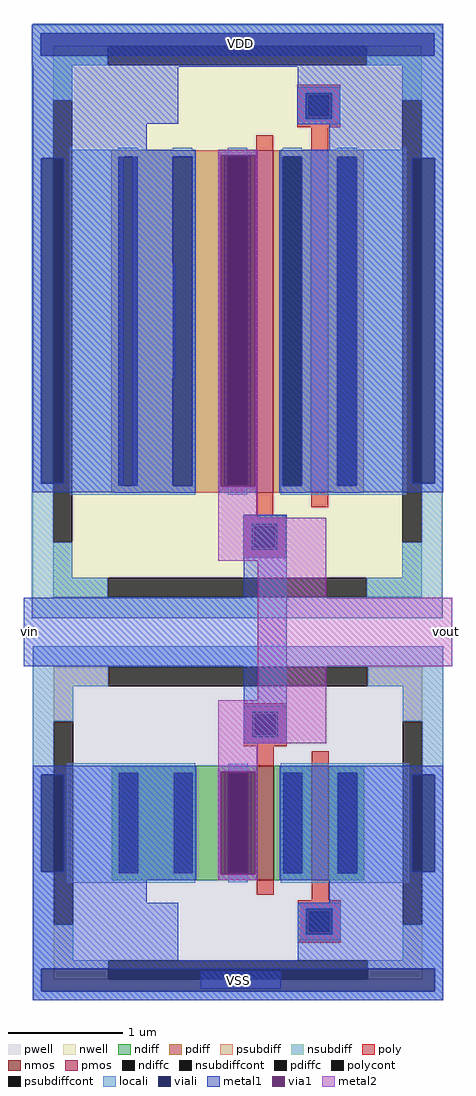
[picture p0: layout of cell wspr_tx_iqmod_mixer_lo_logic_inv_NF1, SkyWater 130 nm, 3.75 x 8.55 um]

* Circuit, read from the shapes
.subckt wspr_tx_iqmod_mixer_lo_logic_inv_NF1 VDD vin vout VSS
XM1 VSS vin vout VSS sky130_fd_pr__nfet_01v8 w=1 l=0.15
XM2 VSS VSS VSS VSS sky130_fd_pr__nfet_01v8 w=1 l=0.15
XM3 VDD vin vout VDD sky130_fd_pr__pfet_01v8 w=3 l=0.15
XM4 VDD VDD VDD VDD sky130_fd_pr__pfet_01v8 w=3 l=0.15
.ends

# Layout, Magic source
magic
tech sky130A
magscale 1 2
<< locali >>
rect 10 765 15 770
rect 595 765 600 770
rect 10 160 230 765
rect 380 160 600 765
rect 5 -520 230 -310
rect 380 -520 605 -310
<< viali >>
rect -40 180 0 750
rect 610 180 650 750
rect -40 -500 0 -330
rect 610 -500 650 -330
<< metal1 >>
rect -55 910 665 985
rect -55 810 200 910
rect 410 810 665 910
rect -55 765 145 810
rect 465 765 665 810
rect -55 760 190 765
rect -55 750 105 760
rect -55 180 -40 750
rect 0 180 105 750
rect -55 165 105 180
rect 120 565 190 760
rect 270 755 340 765
rect 120 365 195 565
rect 120 165 190 365
rect 270 175 275 755
rect 335 175 340 755
rect 270 165 340 175
rect 420 750 665 765
rect 420 180 610 750
rect 650 180 665 750
rect 420 165 665 180
rect 315 -20 390 125
rect -70 -140 390 -20
rect 315 -275 390 -140
rect -55 -330 230 -315
rect -55 -500 -40 -330
rect 0 -500 230 -330
rect -55 -515 230 -500
rect 270 -325 340 -315
rect 270 -505 275 -325
rect 335 -505 340 -325
rect 270 -515 340 -505
rect 380 -330 665 -315
rect 380 -500 610 -330
rect 650 -500 665 -330
rect 380 -515 665 -500
rect -55 -555 145 -515
rect -55 -655 200 -555
rect 465 -560 665 -515
rect 410 -655 665 -560
rect -55 -660 665 -655
rect 20 -665 605 -660
rect 240 -705 380 -675
<< via1 >>
rect 275 175 335 755
rect 275 -505 335 -325
<< metal2 >>
rect 270 755 340 765
rect 270 175 275 755
rect 335 175 340 755
rect 270 120 340 175
rect 270 45 460 120
rect 340 -20 460 45
rect 340 -140 680 -20
rect 340 -200 460 -140
rect 270 -275 460 -200
rect 270 -325 340 -275
rect 270 -505 275 -325
rect 335 -505 340 -325
rect 270 -515 340 -505
use sky130_fd_pr__nfet_01v8_VZLHR2  sky130_fd_pr__nfet_01v8_VZLHR2_0
transform 1 0 305 0 1 -415
box -360 -310 360 310
use sky130_fd_pr__pfet_01v8_KBTFAN  sky130_fd_pr__pfet_01v8_KBTFAN_0
transform 1 0 304 0 1 464
box -360 -520 360 520
<< labels >>
flabel metal1 310 950 310 950 0 FreeSans 400 0 0 0 VDD
port 3 nsew
flabel metal1 -60 -80 -60 -80 0 FreeSans 400 0 0 0 vin
port 5 nsew
flabel metal2 670 -80 670 -80 0 FreeSans 400 0 0 0 vout
port 7 nsew
flabel metal1 305 -690 305 -690 0 FreeSans 400 0 0 0 VSS
port 9 nsew
<< end >>

# cell sky130_fd_pr__nfet_01v8_VZLHR2: kit device sky130_fd_pr__nfet_01v8, w 1.0 l 0.150 m 1 nf 4 diffcov 100 polycov 100 guard 1 glc 1 grc 1 gtc 1 gbc 1 tbcov 100 rlcov 100 topc 1 botc 1 poverlap 0 doverlap 1 lmin 0.15 wmin 0.42 class mosfet compatible {sky130_fd_pr__nfet_01v8 sky130_fd_pr__nfet_01v8_lvt sky130_fd_bs_flash__special_sonosfet_star sky130_fd_pr__nfet_g5v0d10v5 sky130_fd_pr__nfet_05v0_nvt sky130_fd_pr__nfet_03v3_nvt} full_metal 1 conn_gates 0 viasrc 100 viadrn 100 viagate 100 viagb 0 viagr 0 viagl 0 viagt 0 doports 1

# cell sky130_fd_pr__pfet_01v8_KBTFAN: kit device sky130_fd_pr__pfet_01v8, w 3.0 l 0.15 m 1 nf 4 diffcov 100 polycov 100 guard 1 glc 1 grc 1 gtc 1 gbc 1 tbcov 100 rlcov 100 topc 1 botc 1 poverlap 0 doverlap 1 lmin 0.15 wmin 0.42 class mosfet compatible {sky130_fd_pr__pfet_01v8 sky130_fd_pr__pfet_01v8_lvt sky130_fd_pr__pfet_01v8_hvt sky130_fd_pr__pfet_g5v0d10v5} full_metal 1 conn_gates 0 viasrc 100 viadrn 100 viagate 100 viagb 0 viagr 0 viagl 0 viagt 0 doports 1
